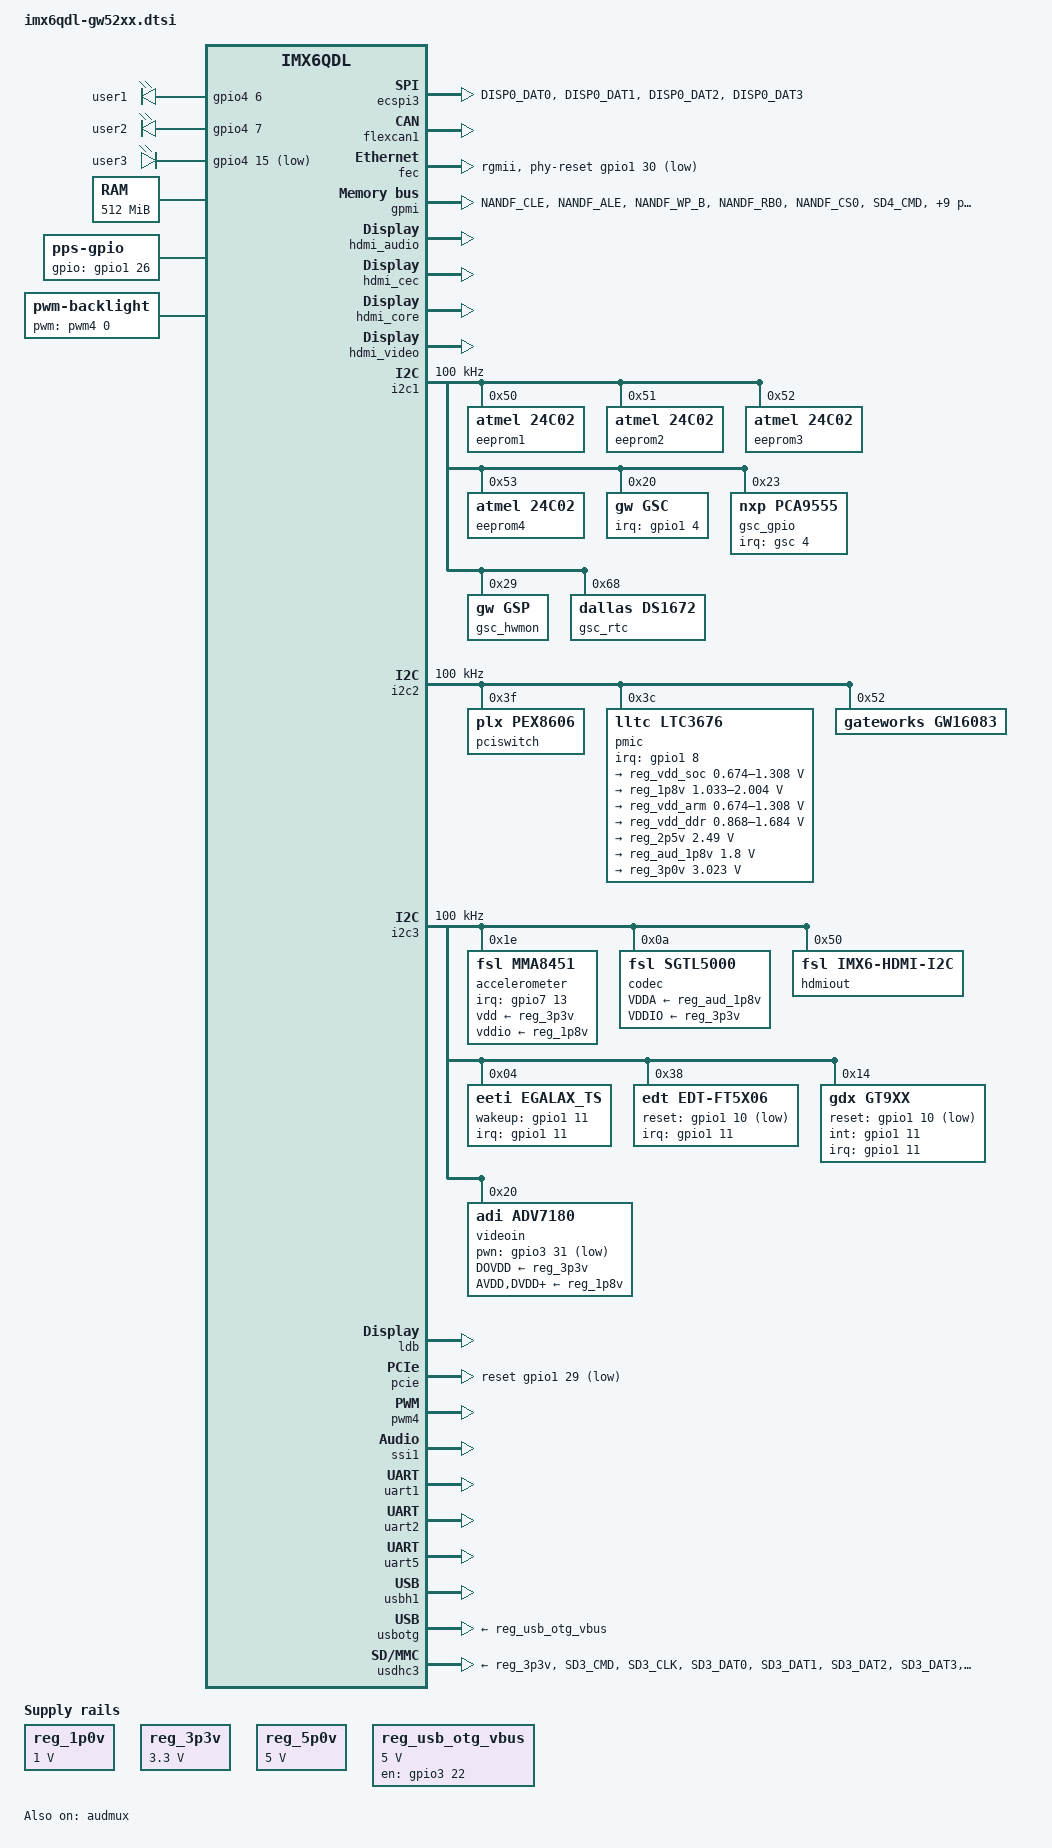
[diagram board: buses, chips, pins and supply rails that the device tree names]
/*
 * Copyright 2013-2014 Gateworks Corporation
 *
 * The code contained herein is licensed under the GNU General Public
 * License. You may obtain a copy of the GNU General Public License
 * Version 2 or later at the following locations:
 *
 * http://www.opensource.org/licenses/gpl-license.html
 * http://www.gnu.org/copyleft/gpl.html
 */

/ {
	/* these are used by bootloader for disabling nodes */
	aliases {
		can0 = &flexcan1;
		ethernet0 = &fec;
		led0 = &led0;
		led1 = &led1;
		led2 = &led2;
		lvds0 = &lvds1;
		mxcfb0 = &mxcfb1;
		mxcfb1 = &mxcfb2;
		nand = &gpmi;
		ssi0 = &ssi1;
		usb0 = &usbh1;
		usb1 = &usbotg;
		usdhc2 = &usdhc3;
	};

	chosen {
		bootargs = "console=ttymxc1,115200";
	};

	leds {
		compatible = "gpio-leds";

		led0: user1 { /* MX6_PANLEDG */
			label = "user1";
			gpios = <&gpio4 6 GPIO_ACTIVE_HIGH>;
			default-state = "on";
			linux,default-trigger = "heartbeat";
		};

		led1: user2 { /* MX6_PANLEDR */
			label = "user2";
			gpios = <&gpio4 7 GPIO_ACTIVE_HIGH>;
			default-state = "off";
		};

		led2: user3 { /* MX6_LOCLED# */
			label = "user3";
			gpios = <&gpio4 15 GPIO_ACTIVE_LOW>;
			default-state = "off";
		};
	};

	memory {
		reg = <0x10000000 0x20000000>;
	};

	pps {
		compatible = "pps-gpio";
		gpios = <&gpio1 26 GPIO_ACTIVE_HIGH>;
		status = "okay";
	};

	regulators {
		compatible = "simple-bus";

		reg_1p0v: 1p0v {
			compatible = "regulator-fixed";
			regulator-name = "1P0V";
			regulator-min-microvolt = <1000000>;
			regulator-max-microvolt = <1000000>;
			regulator-always-on;
		};

		reg_3p3v: 3p3v {
			compatible = "regulator-fixed";
			regulator-name = "3P3V";
			regulator-min-microvolt = <3300000>;
			regulator-max-microvolt = <3300000>;
			regulator-always-on;
		};

		reg_5p0v: 5p0v {
			compatible = "regulator-fixed";
			regulator-name = "5P0V";
			regulator-min-microvolt = <5000000>;
			regulator-max-microvolt = <5000000>;
			regulator-always-on;
		};

		reg_usb_otg_vbus: usb_otg_vbus {
			compatible = "regulator-fixed";
			regulator-name = "usb_otg_vbus";
			regulator-min-microvolt = <5000000>;
			regulator-max-microvolt = <5000000>;
			gpio = <&gpio3 22 GPIO_ACTIVE_HIGH>;
			enable-active-high;
		};
	};

	sound {
		compatible = "fsl,imx6q-ventana-sgtl5000",
			     "fsl,imx-audio-sgtl5000";
		model = "sgtl5000-audio";
		cpu-dai = <&ssi1>;
		audio-codec = <&codec>;
		audio-routing =
			"LINE_IN", "Line In Jack",
			"Line Out Jack", "LINE_OUT";
		mux-int-port = <1>;
		mux-ext-port = <4>;
	};

	sound-hdmi {
		compatible = "fsl,imx6q-audio-hdmi",
			     "fsl,imx-audio-hdmi";
		model = "imx-audio-hdmi";
		hdmi-controller = <&hdmi_audio>;
	};

	mxcfb1: fb@0 {
		/* hdmi */
		compatible = "fsl,mxc_sdc_fb";
		disp_dev = "hdmi";
		interface_pix_fmt = "RGB24";
		mode_str ="1920x1080M@60";
		default_bpp = <24>;
		int_clk = <0>;
		late_init = <0>;
		status = "okay";
	};

	mxcfb2: fb@1 {
		/* LVDS */
		compatible = "fsl,mxc_sdc_fb";
		disp_dev = "ldb";
		interface_pix_fmt = "RGB666";
		default_bpp = <16>;
		int_clk = <0>;
		late_init = <0>;
		status = "okay";
	};

	backlight {
		compatible = "pwm-backlight";
		pwms = <&pwm4 0 5000000>;
		brightness-levels = <0 4 8 16 32 64 128 255>;
		default-brightness-level = <7>;
	};

	/*
	 * GW52xx uses EIM1 for analog capture CSI
	 * IMX6SDL EIM1 is IPU1_CSI1, IMX6DQ EIM1 is IPU2_CSI1
	 * thus pinctrl is done in soc-specific dts files
	 */
	cap0: v4l2_cap_0 {
		compatible = "fsl,imx6q-v4l2-capture";
		/* ipu/csi id set in cpu specific as pinmux varies */
		mclk_source = <0>;
		status = "okay";
	};

	v4l2_out {
		compatible = "fsl,mxc_v4l2_output";
		status = "okay";
	};

	lvds_cabc_ctrl {
		lvds0-gpios = <&gpio1 10 GPIO_ACTIVE_HIGH>;
	};
};

&audmux {
	pinctrl-names = "default";
	pinctrl-0 = <&pinctrl_audmux_1>;
	status = "okay";
};

&ecspi3 {
	fsl,spi-num-chipselects = <1>;
	cs-gpios = <&gpio4 24 GPIO_ACTIVE_HIGH>;
	pinctrl-names = "default";
	pinctrl-0 = <&pinctrl_ecspi3>;
	status = "okay";
};

&flexcan1 {
	pinctrl-names = "default";
	pinctrl-0 = <&pinctrl_flexcan1_1>;
	trx-stby-gpio = <&gpio1 9 GPIO_ACTIVE_HIGH>;
	status = "okay";
};

&fec {
	pinctrl-names = "default";
	pinctrl-0 = <&pinctrl_enet_1>;
	phy-mode = "rgmii";
	phy-reset-gpios = <&gpio1 30 GPIO_ACTIVE_HIGH>;
	status = "okay";
};

&gpc {
	fsl,cpu_pupscr_sw2iso = <0xf>;
	fsl,cpu_pupscr_sw = <0xf>;
	fsl,cpu_pdnscr_iso2sw = <0x1>;
	fsl,cpu_pdnscr_iso = <0x1>;
	fsl,ldo-bypass = <0>;
};

&gpmi {
	pinctrl-names = "default";
	pinctrl-0 = <&pinctrl_gpmi_nand>;
	status = "okay";
};

&hdmi_audio {
	status = "okay";
};

&hdmi_cec {
	pinctrl-names = "default";
	pinctrl-0 = <&pinctrl_hdmi_cec_1>;
	status = "okay";
};

&hdmi_core {
	ipu_id = <0>;
	disp_id = <1>;
	status = "okay";
};

&hdmi_video {
	fsl,phy_reg_vlev = <0x0294>;
	fsl,phy_reg_cksymtx = <0x800d>;
	status = "okay";
};

&i2c1 {
	clock-frequency = <100000>;
	pinctrl-names = "default";
	pinctrl-0 = <&pinctrl_i2c1_1>;
	status = "okay";

	eeprom1: eeprom@50 {
		compatible = "atmel,24c02";
		reg = <0x50>;
		pagesize = <16>;
	};

	eeprom2: eeprom@51 {
		compatible = "atmel,24c02";
		reg = <0x51>;
		pagesize = <16>;
	};

	eeprom3: eeprom@52 {
		compatible = "atmel,24c02";
		reg = <0x52>;
		pagesize = <16>;
	};

	eeprom4: eeprom@53 {
		compatible = "atmel,24c02";
		reg = <0x53>;
		pagesize = <16>;
	};

	gsc: gsc@20 {
		compatible = "gw,gsc";
		reg = <0x20>;
		interrupt-parent = <&gpio1>;
		interrupts = <4 GPIO_ACTIVE_LOW>;
		interrupt-controller;
		#interrupt-cells = <1>;

		/* GSC watchdog */
		watchdog {
			compatible = "gw,gsc_wdt";
			status = "okay";
		};

		/* Linux input events from GSC interrupt events */
		input {
			compatible = "gw,gsc_input";
			interrupt-parent = <&gsc>;
			interrupts = <0 1 2 5 7>;
			interrupt-names = "button", "key-erased", "eeprom-wp", "tamper", "button-held";
			status = "okay";
		};
	};

	gsc_gpio: pca9555@23 {
		compatible = "nxp,pca9555";
		reg = <0x23>;
		gpio-controller;
		#gpio-cells = <2>;
		interrupt-parent = <&gsc>;
		interrupts = <4>;
	};

	gsc_hwmon: hwmon@29 {
		compatible = "gw,gsp";
		reg = <0x29>;
	};

	gsc_rtc: ds1672@68 {
		compatible = "dallas,ds1672";
		reg = <0x68>;
	};
};

&i2c2 {
	clock-frequency = <100000>;
	pinctrl-names = "default";
	pinctrl-0 = <&pinctrl_i2c2_2>;
	status = "okay";

	pciswitch: pex8606@3f {
		compatible = "plx,pex8606";
		reg = <0x3f>;
	};

	pmic: ltc3676@3c {
		compatible = "lltc,ltc3676";
		reg = <0x3c>;
		interrupt-parent = <&gpio1>;
		interrupts = <8 IRQ_TYPE_EDGE_FALLING>;

		regulators {
			/* VDD_SOC (1+R1/R2 = 1.635) */
			reg_vdd_soc: sw1 {
                                regulator-name = "vddsoc";
				regulator-min-microvolt = <674400>;
				regulator-max-microvolt = <1308000>;
				lltc,fb-voltage-divider = <127000 200000>;
				regulator-ramp-delay = <7000>;
				regulator-boot-on;
				regulator-always-on;
				linux,phandle = <&reg_vdd_soc>;
			};

			/* VDD_1P8 (1+R1/R2 = 2.505): GPS/VideoIn/ENET-PHY */
			reg_1p8v: sw2 {
                                regulator-name = "vdd1p8";
				regulator-min-microvolt = <1033310>;
				regulator-max-microvolt = <2004000>;
				lltc,fb-voltage-divider = <301000 200000>;
				regulator-ramp-delay = <7000>;
				regulator-boot-on;
				regulator-always-on;
			};

			/* VDD_ARM (1+R1/R2 = 1.635) */
			reg_vdd_arm: sw3 {
                                regulator-name = "vddarm";
				regulator-min-microvolt = <674400>;
				regulator-max-microvolt = <1308000>;
				lltc,fb-voltage-divider = <127000 200000>;
				regulator-ramp-delay = <7000>;
				regulator-boot-on;
				regulator-always-on;
				linux,phandle = <&reg_vdd_arm>;
			};

			/* VDD_DDR (1+R1/R2 = 2.105) */
			reg_vdd_ddr: sw4 {
                                regulator-name = "vddddr";
				regulator-min-microvolt = <868310>;
				regulator-max-microvolt = <1684000>;
				lltc,fb-voltage-divider = <221000 200000>;
				regulator-ramp-delay = <7000>;
				regulator-boot-on;
				regulator-always-on;
			};

			/* VDD_2P5 (1+R1/R2 = 3.435): PCIe/ENET-PHY */
			reg_2p5v: ldo2 {
                                regulator-name = "vdd2p5";
				regulator-min-microvolt = <2490375>;
				regulator-max-microvolt = <2490375>;
				lltc,fb-voltage-divider = <487000 200000>;
				regulator-boot-on;
				regulator-always-on;
			};

			/* VDD_AUD_1P8: Audio codec */
			reg_aud_1p8v: ldo3 {
                                regulator-name = "vdd1p8";
				regulator-min-microvolt = <1800000>;
				regulator-max-microvolt = <1800000>;
				regulator-boot-on;
			};

			/* VDD_HIGH (1+R1/R2 = 4.17) */
			reg_3p0v: ldo4 {
                                regulator-name = "vdd3p0";
				regulator-min-microvolt = <3023250>;
				regulator-max-microvolt = <3023250>;
				lltc,fb-voltage-divider = <634000 200000>;
				regulator-boot-on;
				regulator-always-on;
			};
		};
	};

	gw16083: gw16083@52 {
		compatible = "gateworks,gw16083";
		reg = <0x52>;
	};
};

&i2c3 {
	clock-frequency = <100000>;
	pinctrl-names = "default";
	pinctrl-0 = <&pinctrl_i2c3_2>;
	status = "okay";

	accelerometer: mma8451@1e {
		compatible = "fsl,mma8451";
		reg = <0x1e>;
		position = <3>;
		vdd-supply = <&reg_3p3v>;
		vddio-supply = <&reg_1p8v>;
		interrupt-parent = <&gpio7>;
		interrupts = <13 8>;
		interrupt-route = <1>;
	};

	codec: sgtl5000@0a {
		compatible = "fsl,sgtl5000";
		reg = <0x0a>;
		clocks = <&clks 201>;
		VDDA-supply = <&reg_aud_1p8v>;
		VDDIO-supply = <&reg_3p3v>;
	};

	hdmiout: edid@50 {
		compatible = "fsl,imx6-hdmi-i2c";
		reg = <0x50>;
	};

	/* touchscreen */
	egalax_ts@04 {
		compatible = "eeti,egalax_ts";
		reg = <0x04>;
		interrupt-parent = <&gpio1>;
		interrupts = <11 IRQ_TYPE_EDGE_FALLING>;
		wakeup-gpios = <&gpio1 11 GPIO_ACTIVE_HIGH>;
	};

	/* touchscreen */
	edt-ft5x06@38 {
		compatible = "edt,edt-ft5x06";
		reg = <0x38>;
		interrupt-parent = <&gpio1>;
		interrupts = <11 IRQ_TYPE_EDGE_FALLING>;
		reset-gpios = <&gpio1 10 GPIO_ACTIVE_LOW>;
		invert;
		screen-x = <1024>;
		screen-y = <600>;
	};

	/* touchscreen */
	gt9xx@14 {
		compatible = "gdx,gt9xx";
		reg = <0x14>;
		interrupt-parent = <&gpio1>;
		interrupts = <11 IRQ_TYPE_EDGE_FALLING>;
		reset-gpio = <&gpio1 10 GPIO_ACTIVE_LOW>;
		int-gpio = <&gpio1 11 GPIO_ACTIVE_HIGH>;
		rotate;
	};

	/* Analog VideoIn */
	/* EIM pads differ between IMX6Q and IMX6DL so we define pinmux/csi/ipu in IMX6Q/IMX6DL */
	videoin: adv7180@20 {
		compatible = "adi,adv7180";
		reg = <0x20>;
		clocks = <&clks 201>;
		clock-names = "csi_mclk";
		DOVDD-supply = <&reg_3p3v>;
		AVDD-supply = <&reg_1p8v>;
		DVDD-supply = <&reg_1p8v>;
		PVDD-supply = <&reg_1p8v>;
		pwn-gpios = <&gpio3 31 GPIO_ACTIVE_LOW>; /* powerdown */
		/* mclk required but not used */
		mclk = <24000000>;
		mclk_source = <0>;
		cvbs = <1>;
	};
};

&iomuxc {
	pinctrl-names = "default";
	pinctrl-0 = <&pinctrl_hog>;

	imx6qdl-gw52xx {
		pinctrl_hog: hoggrp {
			fsl,pins = <
				MX6QDL_PAD_EIM_A19__GPIO2_IO19		0x4001b0b0 /* MEZZ_DIO0 */
				MX6QDL_PAD_EIM_A20__GPIO2_IO18		0x0001b0b0 /* MEZZ_DIO1 */
				MX6QDL_PAD_EIM_D22__GPIO3_IO22		0x0001b0b0 /* OTG_PWR_EN */
				MX6QDL_PAD_EIM_D30__GPIO3_IO30		0x0001b0b0 /* VIDDEC_IRQ# */
				MX6QDL_PAD_EIM_D31__GPIO3_IO31		0x4001b0b0 /* VIDDEC_EN */
				MX6QDL_PAD_ENET_TX_EN__GPIO1_IO28	0x0001b0b0 /* PCIESW_IRQ# */
				MX6QDL_PAD_ENET_TXD0__GPIO1_IO30	0x4001b0b0 /* PHY_RST# */
				MX6QDL_PAD_ENET_TXD1__GPIO1_IO29	0x4001b0b0 /* PCIE_RST# */
				MX6QDL_PAD_ENET_RXD0__GPIO1_IO27	0x4001b0b0 /* GPS_PWDN */
				MX6QDL_PAD_ENET_RXD1__GPIO1_IO26	0x0001b0b1 /* GPS_PPS */
				MX6QDL_PAD_GPIO_0__CCM_CLKO1		0x000130b0 /* AUD4_MCK */
				MX6QDL_PAD_GPIO_2__GPIO1_IO02		0x4001b0b0 /* USBOTG_PCISEL */
				MX6QDL_PAD_GPIO_4__GPIO1_IO04 		0x0001b0b0 /* GSC_IRQ# */
				MX6QDL_PAD_GPIO_8__GPIO1_IO08		0x0001b0b0 /* PMIC_IRQ# */
				MX6QDL_PAD_GPIO_9__GPIO1_IO09		0x4001b0b0 /* CAN_STBY */
				MX6QDL_PAD_GPIO_17__GPIO7_IO12		0x4001b0b0 /* PCIESKT_WDIS# */
				MX6QDL_PAD_GPIO_18__GPIO7_IO13		0x0001b0b0 /* ACCEL_IRQ# */
				MX6QDL_PAD_KEY_COL0__GPIO4_IO06		0x0001b0b0 /* user1 led */
				MX6QDL_PAD_KEY_ROW0__GPIO4_IO07		0x0001b0b0 /* user2 led */
				MX6QDL_PAD_KEY_ROW4__GPIO4_IO15		0x0001b0b0 /* user3 led */
				MX6QDL_PAD_SD2_CLK__GPIO1_IO10		0x4001b0b0 /* LVDS_GPIO */
				MX6QDL_PAD_SD2_CMD__GPIO1_IO11		0x0001b0b0 /* LVDSTCH_IRQ# */
				MX6QDL_PAD_SD3_DAT4__GPIO7_IO01		0x4001b0b0 /* UART1_TEN */
				MX6QDL_PAD_SD4_DAT0__GPIO2_IO08		0x4001b0b0 /* MSATA_EN */
				MX6QDL_PAD_SD4_DAT3__GPIO2_IO11		0x4001b0b0 /* UART2_EN# */
			 >;
		};

		pinctrl_ecspi3: escpi3grp {
			fsl,pins = <
				MX6QDL_PAD_DISP0_DAT0__ECSPI3_SCLK	0x100b1
				MX6QDL_PAD_DISP0_DAT1__ECSPI3_MOSI	0x100b1
				MX6QDL_PAD_DISP0_DAT2__ECSPI3_MISO	0x100b1
				MX6QDL_PAD_DISP0_DAT3__GPIO4_IO24	0x100b1
			>;
		};

		pinctrl_gpmi_nand: gpminandgrp {
			fsl,pins = <
				MX6QDL_PAD_NANDF_CLE__NAND_CLE		0xb0b1
				MX6QDL_PAD_NANDF_ALE__NAND_ALE		0xb0b1
				MX6QDL_PAD_NANDF_WP_B__NAND_WP_B	0xb0b1
				MX6QDL_PAD_NANDF_RB0__NAND_READY_B	0xb000
				MX6QDL_PAD_NANDF_CS0__NAND_CE0_B	0xb0b1
				MX6QDL_PAD_SD4_CMD__NAND_RE_B		0xb0b1
				MX6QDL_PAD_SD4_CLK__NAND_WE_B		0xb0b1
				MX6QDL_PAD_NANDF_D0__NAND_DATA00	0xb0b1
				MX6QDL_PAD_NANDF_D1__NAND_DATA01	0xb0b1
				MX6QDL_PAD_NANDF_D2__NAND_DATA02	0xb0b1
				MX6QDL_PAD_NANDF_D3__NAND_DATA03	0xb0b1
				MX6QDL_PAD_NANDF_D4__NAND_DATA04	0xb0b1
				MX6QDL_PAD_NANDF_D5__NAND_DATA05	0xb0b1
				MX6QDL_PAD_NANDF_D6__NAND_DATA06	0xb0b1
				MX6QDL_PAD_NANDF_D7__NAND_DATA07	0xb0b1
			>;
		};

		pinctrl_usdhc3: usdhc3grp {
			fsl,pins = <
				MX6QDL_PAD_SD3_CMD__SD3_CMD		0x17059
				MX6QDL_PAD_SD3_CLK__SD3_CLK		0x10059
				MX6QDL_PAD_SD3_DAT0__SD3_DATA0		0x17059
				MX6QDL_PAD_SD3_DAT1__SD3_DATA1		0x17059
				MX6QDL_PAD_SD3_DAT2__SD3_DATA2		0x17059
				MX6QDL_PAD_SD3_DAT3__SD3_DATA3		0x17059
				MX6QDL_PAD_NANDF_CS1__SD3_VSELECT	0x17059
				MX6QDL_PAD_SD3_DAT5__GPIO7_IO00		0x17059 /* CD */
			>;
		};

		pinctrl_usdhc3_100mhz: usdhc3grp100mhz {
			fsl,pins = <
				MX6QDL_PAD_SD3_CMD__SD3_CMD		0x170b9
				MX6QDL_PAD_SD3_CLK__SD3_CLK		0x100b9
				MX6QDL_PAD_SD3_DAT0__SD3_DATA0		0x170b9
				MX6QDL_PAD_SD3_DAT1__SD3_DATA1		0x170b9
				MX6QDL_PAD_SD3_DAT2__SD3_DATA2		0x170b9
				MX6QDL_PAD_SD3_DAT3__SD3_DATA3		0x170b9
				MX6QDL_PAD_NANDF_CS1__SD3_VSELECT	0x170b9
				MX6QDL_PAD_SD3_DAT5__GPIO7_IO00		0x170b9 /* CD */
			>;
		};

		pinctrl_usdhc3_200mhz: usdhc3grp200mhz {
			fsl,pins = <
				MX6QDL_PAD_SD3_CMD__SD3_CMD		0x170f9
				MX6QDL_PAD_SD3_CLK__SD3_CLK		0x100f9
				MX6QDL_PAD_SD3_DAT0__SD3_DATA0		0x170f9
				MX6QDL_PAD_SD3_DAT1__SD3_DATA1		0x170f9
				MX6QDL_PAD_SD3_DAT2__SD3_DATA2		0x170f9
				MX6QDL_PAD_SD3_DAT3__SD3_DATA3		0x170f9
				MX6QDL_PAD_NANDF_CS1__SD3_VSELECT	0x170f9
				MX6QDL_PAD_SD3_DAT5__GPIO7_IO00		0x170f9 /* CD */
			>;
		};
	};
};

&ldb {
	status = "okay";

	lvds1: lvds-channel@0 {
		fsl,data-mapping = "spwg";
		fsl,data-width = <18>;
		crtc = "ipu1-di0";
		status = "okay";
		primary;

		display-timings {
			native-mode = <&timing0>;

			timing0: hsd100pxn1 {
				clock-frequency = <65000000>;
				hactive = <1024>;
				vactive = <768>;
				hback-porch = <220>;
				hfront-porch = <40>;
				vback-porch = <21>;
				vfront-porch = <7>;
				hsync-len = <60>;
				vsync-len = <10>;
				linux,phandle = <&timing0>;
			};

			timing1: dlc800figt3 {
				clock-frequency = <65000000>;
				hactive = <1024>;
				vactive = <768>;
				hback-porch = <220>;
				hfront-porch = <40>;
				vback-porch = <21>;
				vfront-porch = <7>;
				hsync-len = <60>;
				vsync-len = <10>;
				linux,phandle = <&timing1>;
			};

			timing2: dlc700jmgt4 {
				clock-frequency = <65000000>;
				hactive = <1024>;
				vactive = <600>;
				hback-porch = <180>;
				hfront-porch = <40>;
				vback-porch = <21>;
				vfront-porch = <7>;
				hsync-len = <60>;
				vsync-len = <10>;
				linux,phandle = <&timing2>;
			};
		};
	};
};

&pcie {
	reset-gpio = <&gpio1 29 GPIO_ACTIVE_LOW>;
	status = "okay";
};

&pwm2 {
	pinctrl-names = "default";
	pinctrl-0 = <&pinctrl_pwm2_1>; /* MX6_DIO1 */
	status = "disabled";
};

&pwm3 {
	pinctrl-names = "default";
	pinctrl-0 = <&pinctrl_pwm3_1>; /* MX6_DIO2 */
	status = "disabled";
};

&pwm4 {
	pinctrl-names = "default";
	pinctrl-0 = <&pinctrl_pwm4_2>; /* LVDS Backlight */
	status = "okay";
};

&ssi1 {
	fsl,mode = "i2s-slave";
	status = "okay";
};

&uart1 {
	pinctrl-names = "default";
	pinctrl-0 = <&pinctrl_uart1_2>;
	fsl,rs485-gpio-txen = <&gpio7 1 GPIO_ACTIVE_HIGH>;
	status = "okay";
};

&uart2 {
	pinctrl-names = "default";
	pinctrl-0 = <&pinctrl_uart2_3>;
	status = "okay";
};

&uart5 {
	pinctrl-names = "default";
	pinctrl-0 = <&pinctrl_uart5_1>;
	status = "okay";
};

&usbh1 {
	status = "okay";
};

&usbotg {
	vbus-supply = <&reg_usb_otg_vbus>;
	pinctrl-names = "default";
	pinctrl-0 = <&pinctrl_usbotg_1>;
	disable-over-current;
	status = "okay";
};

&usdhc3 {
	pinctrl-names = "default", "state_100mhz", "state_200mhz";
	pinctrl-0 = <&pinctrl_usdhc3>;
	pinctrl-1 = <&pinctrl_usdhc3_100mhz>;
	pinctrl-2 = <&pinctrl_usdhc3_200mhz>;
	cd-gpios = <&gpio7 0 GPIO_ACTIVE_HIGH>;
	vmmc-supply = <&reg_3p3v>;
	no-1-8-v; /* firmware will remove if board revision supports */
	status = "okay";
};
